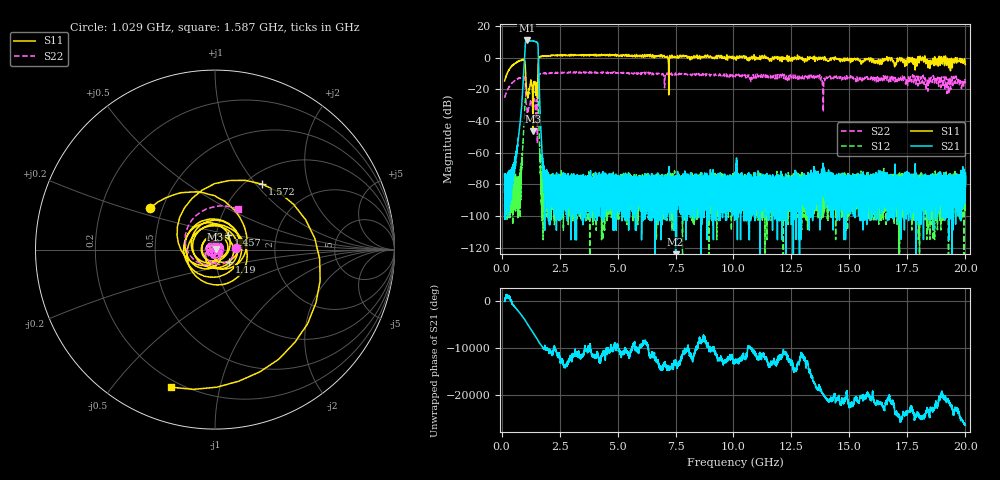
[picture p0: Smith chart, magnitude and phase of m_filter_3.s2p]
!Created with skrf (http://scikit-rf.org).
# GHz S RI R 50.0
!freq ReS11 ImS11 ReS21 ImS21 ReS12 ImS12 ReS22 ImS22
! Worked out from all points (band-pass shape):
!   20013 points, 130 MHz to 20 GHz, reference 50 ohm
!   highest |S21| = 10.86 dB at 1.084 GHz (marker M1); lowest = -178.5 dB at 7.505 GHz (marker M2)
!   |S21| within 3 dB of the highest: 1.018 GHz to 1.569 GHz (551.8 MHz wide, 42.7 % of centre)
!   lowest |S11| = -46.6 dB at 1.347 GHz (marker M3), VSWR 1.01, Z = 50.3 + j0.343 ohm
!   |S11| at or under -10 dB: start of sweep to 239.9 MHz; 1.037 GHz to 1.567 GHz (530.6 MHz wide, 40.8 % of centre); 7.203608 GHz to 7.211352 GHz (7.744 MHz wide, 0.107 % of centre)
!   |S22| runs from -54.3 to -9.0 dB; largest |S21 - S12| = 3.5
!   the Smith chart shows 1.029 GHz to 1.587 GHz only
!   S11 on the Smith chart (normalised r, x): 1.029 GHz: 0.43, +0.24; 1.19 GHz: 1.16, -0.16; 1.457 GHz: 1.15, +0.19; 1.572 GHz: 1.18, +1.08; 1.587 GHz: 0.16, -0.72
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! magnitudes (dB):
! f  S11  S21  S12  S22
! 130 MHz  -14.7  -85.0  -101.1  -25.5
! 483 MHz  -4.7  -70.5  -78.5  -15.5
! 756 MHz  -2.0  -47.0  -76.9  -13.2
! 858 MHz  -1.7  -32.4  -66.9  -12.4
! 1.029 GHz  -7.4  9.4  -25.7  -18.7
! 1.084 GHz  -23.3  10.9  -23.6  -30.4
! 1.19 GHz  -19.6  10.6  -22.8  -31.2
! 1.347 GHz  -46.6  10.6  -21.7  -35.0
! 1.457 GHz  -19.2  10.2  -21.4  -33.3
! 1.512 GHz  -15.9  9.7  -21.4  -26.5
! 1.572 GHz  -6.9  7.3  -23.6  -16.5
! 1.587 GHz  -1.9  0.4  -30.3  -11.7
! 1.73 GHz  0.9  -55.2  -78.7  -9.9
! 1.803 GHz  0.7  -72.5  -77.1  -10.0
! 1.887 GHz  0.9  -75.0  -84.8  -10.0
! 3.442 GHz  1.2  -79.9  -83.0  -9.8
! 6.754 GHz  1.4  -78.1  -90.2  -9.9
! 7.505 GHz  0.5  -178.5  -81.5  -10.0
! 10.06 GHz  0.2  -88.4  -88.0  -11.7
! 13.38 GHz  -0.3  -76.9  -82.7  -12.1
! 16.69 GHz  -0.1  -83.4  -80.6  -15.4
! 20 GHz  -4.5  -74.4  -81.4  -16.2
